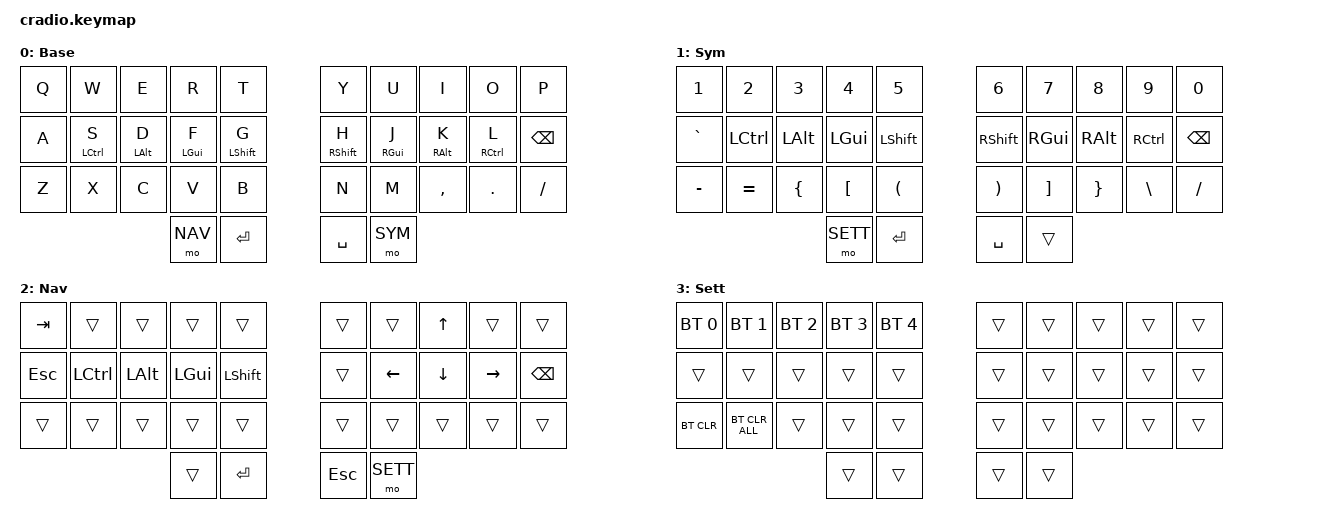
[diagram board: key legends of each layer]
/*
 * Copyright (c) 2020 The ZMK Contributors
 *
 * SPDX-License-Identifier: MIT
 */

#include <behaviors.dtsi>
#include <dt-bindings/zmk/keys.h>
#include <dt-bindings/zmk/bt.h>

#define BASE 0
#define SYM  1
#define NAV  2
#define SETT 3

/ {
    behaviors {
        ht: hold_tap {
            compatible = "zmk,behavior-hold-tap";
            #binding-cells = <2>;
            flavor = "balanced";
            require-prior-idle-ms = <150>;
            tapping-term-ms = <280>;
            quick-tap-ms = <175>;
            bindings = <&kp>, <&kp>;
            hold-trigger-on-release;
        };
    };

    keymap {
            compatible = "zmk,keymap";


    default_layer {
        display-name = "Base";
        bindings = <
    //╭─────────────┬─────────────┬─────────────┬─────────────┬─────────────╮             ╭─────────────┬─────────────┬─────────────┬─────────────┬─────────────╮
    //│      Q      │      W      │      E      │      R      │      T      │             │      Y      │      U      │      I      │      O      │      P      │
           &kp Q         &kp W         &kp E         &kp R         &kp T                       &kp Y          &kp U         &kp I        &kp O         &kp P
    //├─────────────┼─────────────┼─────────────┼─────────────┼─────────────┤             ├─────────────┼─────────────┼─────────────┼─────────────┼─────────────┤
    //│      A      │      S      │      D      │      F      │      G      │             │      H      │      J      │      K      │      L      │     BSPC    |
          &kp A       &ht LCTRL S    &ht LALT D    &ht LGUI F   &ht LSHIFT G                &ht RSHIFT H   &ht RGUI J    &ht RALT K    &ht RCTRL L    &kp BSPC 
    //├─────────────┼─────────────┼─────────────┼─────────────┼─────────────┤             ├─────────────┼─────────────┼─────────────┼─────────────┼─────────────┤
    //│      Z      │      X      │      C      │      V      │      B      │             │      N      │      M      │    , <      │     . >     │     / ?     |
           &kp Z         &kp X         &kp C         &kp V         &kp B                       &kp N         &kp M       &kp COMMA      &kp DOT       &kp FSLH
    //╰─────────────┴─────────────┼─────────────┼─────────────┼─────────────┤             ├─────────────┼─────────────┼─────────────┴─────────────┴─────────────╯
    //                                               MO(NAV)        RET                        SPACE        MO(SYM)          
                                                     &mo NAV      &kp RET                    &kp SPACE      &mo SYM       
    //                                          ╰─────────────┴─────────────╯             ╰─────────────┴─────────────╯
        >;
    };



    symbol_layer {
        display-name = "Sym";
        bindings = <

    // ╭────────────┬────────────┬────────────┬────────────┬────────────╮             ╭────────────┬────────────┬────────────┬────────────┬────────────╮
    // |     1 !    |     2 @    |     3 #    |     4 $    |     5 %    |             |     6 ^    |     7 &    |     8 *    |     9 (    |     0 )    |
           &kp N1       &kp N2       &kp N3       &kp N4       &kp N5                     &kp N6       &kp N7        &kp N8       &kp N9       &kp N0
    // ├────────────┼────────────┼────────────┼────────────┼────────────┤             ├────────────┼────────────┼────────────┼────────────┼────────────┤
    // |    ` ~     |    CTRL    |     ALT    |     GUI    |    SHIFT   |             |    SHIFT   |     GUI    |     ALT    |    CTRL    |    BSPC    |
          &kp GRAVE    &kp LCTRL    &kp LALT     &kp LGUI     &kp LSHFT                 &kp RSHIFT     &kp RGUI    &kp RALT     &kp RCTRL    &kp BSPC
    // ├────────────┼────────────┼────────────┼────────────┼────────────┤             ├────────────┼────────────┼────────────┼────────────┼────────────┤
    // |     - _    |     = +    |     {      |     [      |     (      |             |     )      |     ]      |     }      |     \ |    |     / ?    |
         &kp MINUS     &kp EQUAL    &kp LBRC     &kp LBKT     &kp LPAR                   &kp RPAR     &kp RBKT     &kp RBRC     &kp BSLH     &kp FSLH
    // ├────────────┼────────────┼────────────┼────────────┼────────────┤             ├────────────┼────────────┼────────────┼────────────┼────────────┤
    //                                           SETTINGS        RET                       SPACE  
                                                 &mo SETT      &kp RET                   &kp SPACE     &trans      
    //                                        ╰────────────┴────────────╯             ╰────────────┴────────────╯
        >;
    };


    navigation_layer {
        display-name = "Nav";
        bindings = <
    //╭──────────┬──────────┬──────────┬──────────┬──────────╮             ╭──────────┬──────────┬──────────┬──────────┬──────────╮
    //    TAB                                                                                         UP        
        &kp TAB     &trans     &trans     &trans     &trans                   &trans     &trans     &kp UP     &trans     &trans 
    //├──────────┼──────────┼──────────┼──────────┼──────────┤             ├──────────┼──────────┼──────────┼──────────┼──────────┤
    //    ESC        CTRL       ALT        GUI        SHIFT                               LEFT       DOWN       RIGHT      BSPC
        &kp ESC    &kp LCTRL  &kp LALT   &kp LGUI   &kp LSHFT                 &trans    &kp LEFT   &kp DOWN   &kp RIGHT  &kp BSPC 
    //├──────────┼──────────┼──────────┼──────────┼──────────┤             ├──────────┼──────────┼──────────┼──────────┼──────────┤
    //                                                                                   
        &trans      &trans     &trans     &trans     &trans                   &trans     &trans     &trans     &trans     &trans 
    //╰──────────┴──────────┼──────────┼──────────┼──────────┤             ├──────────┼──────────┼──────────┴──────────┴──────────╯
    //                                                 RET                      ESC     SETTINGS
                                          &trans     &kp RET                  &kp ESC   &mo SETT
    //                                 ╰──────────┴──────────╯             ╰──────────┴──────────╯
        >;
    };


    settings_layer {
        display-name = "Sett";
        bindings = <
    //╭────────────────┬────────────────┬────────────────┬────────────────┬────────────────╮             ╭──────────┬──────────┬──────────┬──────────┬──────────╮
    //      BT-0              BT-1             BT-2             BT-3             BT-4
        &bt BT_SEL 0      &bt BT_SEL 1     &bt BT_SEL 2     &bt BT_SEL 3     &bt BT_SEL 4                   &trans     &trans     &trans     &trans     &trans 
    //├────────────────┼────────────────┼────────────────┼────────────────┼────────────────┤             ├──────────┼──────────┼──────────┼──────────┼──────────┤
           &trans            &trans           &trans           &trans           &trans                      &trans     &trans     &trans     &trans     &trans 
    //├────────────────┼────────────────┼────────────────┼────────────────┼────────────────┤             ├──────────┼──────────┼──────────┼──────────┼──────────┤
    //  BT CLEAR         BT CLEAR ALL
        &bt BT_CLR       &bt BT_CLR_ALL       &trans           &trans           &trans                      &trans     &trans     &trans     &trans     &trans 
    //╰────────────────┴────────────────┼────────────────┼────────────────┼────────────────┤             ├──────────┼──────────┼──────────┴──────────┴──────────╯
                                                               &trans            &trans                     &trans     &trans 
    //                                                   ╰────────────────┴────────────────╯             ╰──────────┴──────────╯
        >;
    };
        };
};
